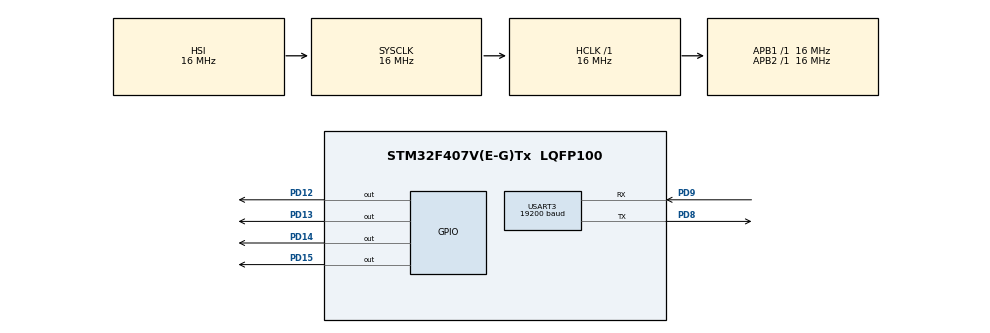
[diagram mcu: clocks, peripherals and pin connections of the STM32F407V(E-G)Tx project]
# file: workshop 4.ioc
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Mcu.Family=STM32F4
Mcu.Name=STM32F407V(E-G)Tx
Mcu.Package=LQFP100
NVIC.PriorityGroup=NVIC_PRIORITYGROUP_4
PD12.Signal=GPIO_Output
PD13.Signal=GPIO_Output
PD14.Signal=GPIO_Output
PD15.Signal=GPIO_Output
PD8.Mode=Asynchronous
PD8.Signal=USART3_TX
PD9.Mode=Asynchronous
PD9.Signal=USART3_RX
ProjectManager.HeapSize=0x200
ProjectManager.StackSize=0x400
ProjectManager.TargetToolchain=STM32CubeIDE
RCC.AHBFreq_Value=16000000
RCC.APB1Freq_Value=16000000
RCC.APB2Freq_Value=16000000
RCC.CortexFreq_Value=16000000
RCC.HSE_VALUE=25000000
RCC.HSI_VALUE=16000000
RCC.LSE_VALUE=32768
RCC.SYSCLKFreq_VALUE=16000000
RCC.VCOOutputFreq_Value=192000000
USART3.BaudRate=19200
USART3.VirtualMode=VM_ASYNC
board=custom

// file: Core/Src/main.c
/* USER CODE BEGIN Header */
/**
  ******************************************************************************
  * @file           : main.c
  * @brief          : Main program body
  ******************************************************************************
  * @attention
  *
  * Copyright (c) 2025 STMicroelectronics.
  * All rights reserved.
  *
  * This software is licensed under terms that can be found in the LICENSE file
  * in the root directory of this software component.
  * If no LICENSE file comes with this software, it is provided AS-IS.
  *
  ******************************************************************************
  */
/* USER CODE END Header */
#include "main.h"

UART_HandleTypeDef huart3;

void SystemClock_Config(void);
static void MX_GPIO_Init(void);
static void MX_USART3_UART_Init(void);

int main(void)
{

  /* MCU Configuration--------------------------------------------------------*/

  /* Reset of all peripherals, Initializes the Flash interface and the Systick. */
  HAL_Init();

  /* Configure the system clock */
  SystemClock_Config();

  /* Initialize all configured peripherals */
  MX_GPIO_Init();
  MX_USART3_UART_Init();

  /* Infinite loop */
  /* USER CODE BEGIN WHILE */
  while (1)
    {
      uint8_t rcvBuf[1];
      HAL_StatusTypeDef result;

      result = HAL_UART_Receive(&huart3, rcvBuf, 1, 100);

      if (result == HAL_OK)
      {
        switch (rcvBuf[0])
        {
            case '1':
             HAL_GPIO_TogglePin(GPIOD, GPIO_PIN_12);
             if(HAL_GPIO_ReadPin(GPIOD, GPIO_PIN_12) == 1) {
            	 HAL_UART_Transmit(&huart3, (uint8_t *)" - Green ON\n\r", 13, 100);
             }
             else {
            	 HAL_UART_Transmit(&huart3, (uint8_t *)" - Green OFF\n\r", 14, 100);
             }
             break;

            case '2':
             HAL_GPIO_TogglePin(GPIOD, GPIO_PIN_13);
             if(HAL_GPIO_ReadPin(GPIOD, GPIO_PIN_13) == 1) {
            	 HAL_UART_Transmit(&huart3, (uint8_t *)" - Orange ON\n\r", 14, 100);
             }
             else {
            	 HAL_UART_Transmit(&huart3, (uint8_t *)" - Orange OFF\n\r", 15, 100);
             }
             break;

            case '3':
             HAL_GPIO_TogglePin(GPIOD, GPIO_PIN_14);
             if(HAL_GPIO_ReadPin(GPIOD, GPIO_PIN_14) == 1) {
            	 HAL_UART_Transmit(&huart3, (uint8_t *)" - Red ON\n\r", 11, 100);
             }
             else {
            	 HAL_UART_Transmit(&huart3, (uint8_t *)" - Red OFF\n\r", 12, 100);
             }
             break;

            case '4':
             HAL_GPIO_TogglePin(GPIOD, GPIO_PIN_15);
             if(HAL_GPIO_ReadPin(GPIOD, GPIO_PIN_15) == 1) {
            	 HAL_UART_Transmit(&huart3, (uint8_t *)" - Blue ON\n\r", 12, 100);
             }
             else {
            	 HAL_UART_Transmit(&huart3, (uint8_t *)" - Blue OFF\n\r", 13, 100);
             }
             break;

            case '5':
             HAL_GPIO_WritePin(GPIOD, GPIO_PIN_12, 1);
             HAL_GPIO_WritePin(GPIOD, GPIO_PIN_13, 1);
             HAL_GPIO_WritePin(GPIOD, GPIO_PIN_14, 1);
             HAL_GPIO_WritePin(GPIOD, GPIO_PIN_15, 1);
             HAL_UART_Transmit(&huart3, (uint8_t *)" - All ON\n\r", 11, 100);
             break;

            case '6':
             HAL_GPIO_WritePin(GPIOD, GPIO_PIN_12, 0);
             HAL_GPIO_WritePin(GPIOD, GPIO_PIN_13, 0);
             HAL_GPIO_WritePin(GPIOD, GPIO_PIN_14, 0);
             HAL_GPIO_WritePin(GPIOD, GPIO_PIN_15, 0);
             HAL_UART_Transmit(&huart3, (uint8_t *)" - All OFF\n\r", 12, 100);
             break;

        }
      }
    /* USER CODE END WHILE */

  }
}

void SystemClock_Config(void)
{
  RCC_OscInitTypeDef RCC_OscInitStruct = {0};
  RCC_ClkInitTypeDef RCC_ClkInitStruct = {0};

  /** Configure the main internal regulator output voltage
  */
  __HAL_RCC_PWR_CLK_ENABLE();
  __HAL_PWR_VOLTAGESCALING_CONFIG(PWR_REGULATOR_VOLTAGE_SCALE1);

  /** Initializes the RCC Oscillators according to the specified parameters
  * in the RCC_OscInitTypeDef structure.
  */
  RCC_OscInitStruct.OscillatorType = RCC_OSCILLATORTYPE_HSI;
  RCC_OscInitStruct.HSIState = RCC_HSI_ON;
  RCC_OscInitStruct.HSICalibrationValue = RCC_HSICALIBRATION_DEFAULT;
  RCC_OscInitStruct.PLL.PLLState = RCC_PLL_NONE;
  if (HAL_RCC_OscConfig(&RCC_OscInitStruct) != HAL_OK)
  {
    Error_Handler();
  }

  /** Initializes the CPU, AHB and APB buses clocks
  */
  RCC_ClkInitStruct.ClockType = RCC_CLOCKTYPE_HCLK|RCC_CLOCKTYPE_SYSCLK
                              |RCC_CLOCKTYPE_PCLK1|RCC_CLOCKTYPE_PCLK2;
  RCC_ClkInitStruct.SYSCLKSource = RCC_SYSCLKSOURCE_HSI;
  RCC_ClkInitStruct.AHBCLKDivider = RCC_SYSCLK_DIV1;
  RCC_ClkInitStruct.APB1CLKDivider = RCC_HCLK_DIV1;
  RCC_ClkInitStruct.APB2CLKDivider = RCC_HCLK_DIV1;

  if (HAL_RCC_ClockConfig(&RCC_ClkInitStruct, FLASH_LATENCY_0) != HAL_OK)
  {
    Error_Handler();
  }
}

static void MX_USART3_UART_Init(void)
{

  huart3.Instance = USART3;
  huart3.Init.BaudRate = 19200;
  huart3.Init.WordLength = UART_WORDLENGTH_8B;
  huart3.Init.StopBits = UART_STOPBITS_1;
  huart3.Init.Parity = UART_PARITY_NONE;
  huart3.Init.Mode = UART_MODE_TX_RX;
  huart3.Init.HwFlowCtl = UART_HWCONTROL_NONE;
  huart3.Init.OverSampling = UART_OVERSAMPLING_16;
  if (HAL_UART_Init(&huart3) != HAL_OK)
  {
    Error_Handler();
  }

}

static void MX_GPIO_Init(void)
{
  GPIO_InitTypeDef GPIO_InitStruct = {0};

  /* GPIO Ports Clock Enable */
  __HAL_RCC_GPIOD_CLK_ENABLE();

  /*Configure GPIO pin Output Level */
  HAL_GPIO_WritePin(GPIOD, GPIO_PIN_12|GPIO_PIN_13|GPIO_PIN_14|GPIO_PIN_15, GPIO_PIN_RESET);

  /*Configure GPIO pins : PD12 PD13 PD14 PD15 */
  GPIO_InitStruct.Pin = GPIO_PIN_12|GPIO_PIN_13|GPIO_PIN_14|GPIO_PIN_15;
  GPIO_InitStruct.Mode = GPIO_MODE_OUTPUT_PP;
  GPIO_InitStruct.Pull = GPIO_NOPULL;
  GPIO_InitStruct.Speed = GPIO_SPEED_FREQ_LOW;
  HAL_GPIO_Init(GPIOD, &GPIO_InitStruct);

}

void Error_Handler(void)
{
  __disable_irq();
  while (1)
  {
  }
}
